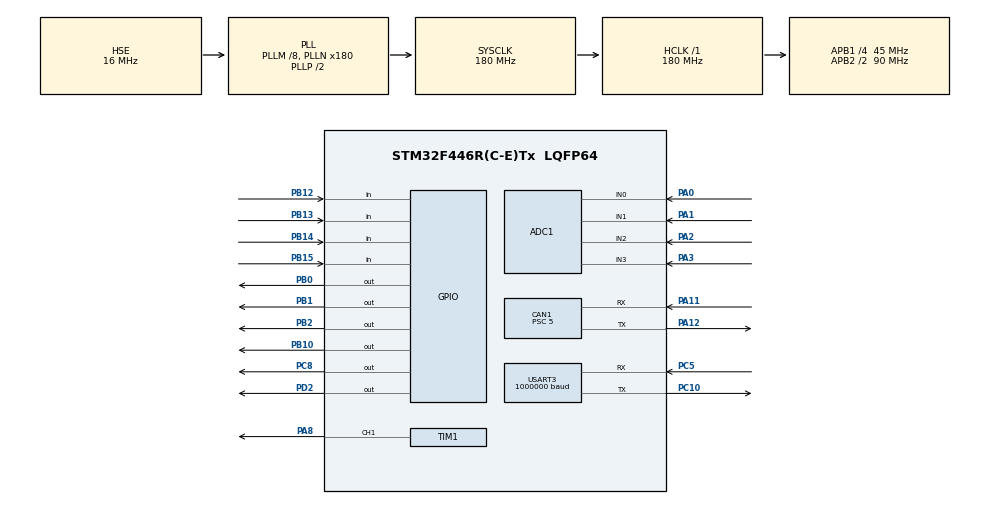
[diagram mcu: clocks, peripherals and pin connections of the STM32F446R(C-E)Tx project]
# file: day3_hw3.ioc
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ADC1.Channel-0\#ChannelRegularConversion=ADC_CHANNEL_0
ADC1.Channel-1\#ChannelRegularConversion=ADC_CHANNEL_1
ADC1.Channel-2\#ChannelRegularConversion=ADC_CHANNEL_2
ADC1.Channel-3\#ChannelRegularConversion=ADC_CHANNEL_3
ADC1.DMAContinuousRequests=ENABLE
ADC1.ExternalTrigConv=ADC_EXTERNALTRIGCONV_T8_TRGO
ADC1.NbrOfConversion=4
ADC1.NbrOfConversionFlag=1
ADC1.Rank-0\#ChannelRegularConversion=1
ADC1.Rank-1\#ChannelRegularConversion=2
ADC1.Rank-2\#ChannelRegularConversion=3
ADC1.Rank-3\#ChannelRegularConversion=4
ADC1.SamplingTime-0\#ChannelRegularConversion=ADC_SAMPLETIME_15CYCLES
ADC1.SamplingTime-1\#ChannelRegularConversion=ADC_SAMPLETIME_15CYCLES
ADC1.SamplingTime-2\#ChannelRegularConversion=ADC_SAMPLETIME_15CYCLES
ADC1.SamplingTime-3\#ChannelRegularConversion=ADC_SAMPLETIME_15CYCLES
ADC1.ScanConvMode=ENABLE
ADC1.master=1
CAN1.BS1=CAN_BS1_6TQ
CAN1.BS2=CAN_BS2_2TQ
CAN1.CalculateBaudRate=1000000
CAN1.CalculateTimeBit=1000
CAN1.CalculateTimeQuantum=111.11111111111111
CAN1.Prescaler=5
Dma.ADC1.0.Direction=DMA_PERIPH_TO_MEMORY
Dma.ADC1.0.FIFOMode=DMA_FIFOMODE_DISABLE
Dma.ADC1.0.Instance=DMA2_Stream0
Dma.ADC1.0.MemDataAlignment=DMA_MDATAALIGN_WORD
Dma.ADC1.0.MemInc=DMA_MINC_ENABLE
Dma.ADC1.0.Mode=DMA_CIRCULAR
Dma.ADC1.0.PeriphDataAlignment=DMA_PDATAALIGN_WORD
Dma.ADC1.0.PeriphInc=DMA_PINC_DISABLE
Dma.ADC1.0.Priority=DMA_PRIORITY_LOW
Dma.Request0=ADC1
Dma.Request1=USART3_RX
Dma.USART3_RX.1.Direction=DMA_PERIPH_TO_MEMORY
Dma.USART3_RX.1.FIFOMode=DMA_FIFOMODE_DISABLE
Dma.USART3_RX.1.Instance=DMA1_Stream1
Dma.USART3_RX.1.MemDataAlignment=DMA_MDATAALIGN_BYTE
Dma.USART3_RX.1.MemInc=DMA_MINC_ENABLE
Dma.USART3_RX.1.Mode=DMA_CIRCULAR
Dma.USART3_RX.1.PeriphDataAlignment=DMA_PDATAALIGN_BYTE
Dma.USART3_RX.1.PeriphInc=DMA_PINC_DISABLE
Dma.USART3_RX.1.Priority=DMA_PRIORITY_LOW
Mcu.Family=STM32F4
Mcu.Name=STM32F446R(C-E)Tx
Mcu.Package=LQFP64
NVIC.ADC_IRQn=true\:0\:0\:false\:false\:true\:true\:true\:true
NVIC.DMA1_Stream1_IRQn=true\:0\:0\:false\:false\:true\:false\:true\:true
NVIC.DMA2_Stream0_IRQn=true\:0\:0\:false\:false\:true\:false\:true\:true
NVIC.PriorityGroup=NVIC_PRIORITYGROUP_4
NVIC.TIM1_BRK_TIM9_IRQn=true\:0\:0\:false\:false\:true\:true\:true\:true
NVIC.TIM1_CC_IRQn=true\:0\:0\:false\:false\:true\:true\:true\:true
NVIC.TIM1_TRG_COM_TIM11_IRQn=true\:0\:0\:false\:false\:true\:true\:true\:true
NVIC.TIM1_UP_TIM10_IRQn=true\:0\:0\:false\:false\:true\:true\:true\:true
NVIC.TIM6_DAC_IRQn=true\:0\:0\:false\:false\:true\:true\:true\:true
NVIC.USART3_IRQn=true\:0\:0\:false\:false\:true\:true\:true\:true
PA0-WKUP.Signal=ADCx_IN0
PA1.Signal=ADCx_IN1
PA11.Mode=CAN_Activate
PA11.Signal=CAN1_RX
PA12.Mode=CAN_Activate
PA12.Signal=CAN1_TX
PA13.Mode=Serial_Wire
PA13.Signal=SYS_JTMS-SWDIO
PA14.Mode=Serial_Wire
PA14.Signal=SYS_JTCK-SWCLK
PA2.Signal=ADCx_IN2
PA3.Signal=ADCx_IN3
PA8.Signal=S_TIM1_CH1
PB0.Signal=GPIO_Output
PB1.Signal=GPIO_Output
PB10.Signal=GPIO_Output
PB12.GPIO_PuPd=GPIO_PULLDOWN
PB12.Signal=GPIO_Input
PB13.GPIO_PuPd=GPIO_PULLDOWN
PB13.Signal=GPIO_Input
PB14.GPIO_PuPd=GPIO_PULLDOWN
PB14.Signal=GPIO_Input
PB15.GPIO_PuPd=GPIO_PULLDOWN
PB15.Signal=GPIO_Input
PB2.Signal=GPIO_Output
PC10.Mode=Asynchronous
PC10.Signal=USART3_TX
PC5.Mode=Asynchronous
PC5.Signal=USART3_RX
PC8.Signal=GPIO_Output
PD2.Signal=GPIO_Output
PH0-OSC_IN.Mode=HSE-External-Oscillator
PH0-OSC_IN.Signal=RCC_OSC_IN
PH1-OSC_OUT.Mode=HSE-External-Oscillator
PH1-OSC_OUT.Signal=RCC_OSC_OUT
ProjectManager.HeapSize=0x200
ProjectManager.StackSize=0x400
ProjectManager.TargetToolchain=STM32CubeIDE
RCC.AHBFreq_Value=180000000
RCC.APB1CLKDivider=RCC_HCLK_DIV4
RCC.APB1Freq_Value=45000000
RCC.APB1TimFreq_Value=90000000
RCC.APB2CLKDivider=RCC_HCLK_DIV2
RCC.APB2Freq_Value=90000000
RCC.APB2TimFreq_Value=180000000
RCC.CortexFreq_Value=180000000
RCC.HCLKFreq_Value=180000000
RCC.HSE_VALUE=16000000
RCC.PLLM=8
RCC.PLLN=180
RCC.PLLSourceVirtual=RCC_PLLSOURCE_HSE
RCC.SYSCLKFreq_VALUE=180000000
RCC.SYSCLKSource=RCC_SYSCLKSOURCE_PLLCLK
RCC.USBFreq_Value=180000000
RCC.VCOOutputFreq_Value=360000000
SH.ADCx_IN0.0=ADC1_IN0,IN0
SH.ADCx_IN1.0=ADC1_IN1,IN1
SH.ADCx_IN2.0=ADC1_IN2,IN2
SH.ADCx_IN3.0=ADC1_IN3,IN3
SH.S_TIM1_CH1.0=TIM1_CH1,PWM Generation1 CH1
TIM1.Channel-PWM\ Generation1\ CH1=TIM_CHANNEL_1
TIM1.Period=500-1
TIM1.Prescaler=18-1
TIM6.Period=100-1
TIM6.Prescaler=90-1
USART3.BaudRate=1000000
USART3.VirtualMode=VM_ASYNC
VP_TIM6_VS_ClockSourceINT.Mode=Enable_Timer
board=custom

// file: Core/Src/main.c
/* USER CODE BEGIN Header */
/**
  ******************************************************************************
  * @file           : main.c
  * @brief          : Main program body
  ******************************************************************************
  * @attention
  *
  * Copyright (c) 2026 STMicroelectronics.
  * All rights reserved.
  *
  * This software is licensed under terms that can be found in the LICENSE file
  * in the root directory of this software component.
  * If no LICENSE file comes with this software, it is provided AS-IS.
  *
  ******************************************************************************
  */
/* USER CODE END Header */
#include "main.h"

/* USER CODE BEGIN Includes */
#include <string.h>
/* USER CODE END Includes */

/* USER CODE BEGIN PD */
#define MOTOR_ID        0x7F    // RS00 기본 CAN ID (127)
#define HOST_ID         0xFD    // 호스트 ID

#define COMM_ENABLE     3       // 통신 타입 3: 모터 enable
#define COMM_STOP       4       // 통신 타입 4: 모터 stop
#define COMM_WRITE      0x12    // 통신 타입 18: 단일 파라미터 쓰기

#define IDX_RUN_MODE    0x7005  // uint8, 2 = 속도 모드
#define IDX_SPD_REF     0x700A  // float, 속도 지령 (-33 ~ 33 rad/s)
#define IDX_LIMIT_CUR   0x7018  // float, 전류 제한 (0 ~ 16 A)
#define IDX_ACC_RAD     0x7022  // float, 속도 모드 가속도 (기본 20 rad/s^2)

// 24V 입력, 데이터시트 값의 절반 미만으로 사용
#define SPEED_RAD_S     5.0f    // 최대 33 rad/s의 절반(16.5) 미만
#define LIMIT_CUR_A     4.0f    // 최대 16 A의 절반(8) 미만
#define ACC_RAD_S2      20.0f   // 데이터시트 기본값. +5 <-> -5 반전에 0.5초
#define PHASE_MS        5000    // 한 방향으로 도는 시간
/* USER CODE END PD */

ADC_HandleTypeDef hadc1;
DMA_HandleTypeDef hdma_adc1;

CAN_HandleTypeDef hcan1;

TIM_HandleTypeDef htim1;
TIM_HandleTypeDef htim6;

/* USER CODE BEGIN PV */
static uint8_t motor_id = MOTOR_ID;   // rs_scan()이 찾은 모터 ID (못 찾으면 기본값)
/* USER CODE END PV */

void SystemClock_Config(void);
static void MX_GPIO_Init(void);
static void MX_DMA_Init(void);
static void MX_ADC1_Init(void);
static void MX_TIM1_Init(void);
static void MX_TIM6_Init(void);
static void MX_USART3_UART_Init(void);
static void MX_CAN1_Init(void);
/* USER CODE BEGIN PFP */
static void rs_send(uint8_t comm_type, const uint8_t data[8]);
static void rs_scan(void);
static void rs_write_u8(uint16_t index, uint8_t value);
static void rs_write_float(uint16_t index, float value);
/* USER CODE END PFP */

/* USER CODE BEGIN 0 */
static void rs_send(uint8_t comm_type, const uint8_t data[8])
{
  CAN_TxHeaderTypeDef header;
  uint32_t mailbox;

  header.ExtId = ((uint32_t)comm_type << 24) | ((uint32_t)HOST_ID << 8) | motor_id;
  header.IDE = CAN_ID_EXT;
  header.RTR = CAN_RTR_DATA;
  header.DLC = 8;
  header.TransmitGlobalTime = DISABLE;

  uint32_t start = HAL_GetTick();
  while (HAL_CAN_GetTxMailboxesFreeLevel(&hcan1) == 0)
  {
    if (HAL_GetTick() - start > 10) return;   // 메일박스가 안 비면 포기
  }
  HAL_CAN_AddTxMessage(&hcan1, &header, (uint8_t *)data, &mailbox);
}

// 통신 타입 0(장치 ID 요청)을 ID 1~127에 차례로 보내고 응답한 모터의 ID를 찾는다
static void rs_scan(void)
{
  uint8_t zero[8] = {0};
  CAN_RxHeaderTypeDef rx_header;
  uint8_t rx_data[8];

  for (uint16_t n = 0; n < 127; n++)
  {
    motor_id = (n == 0) ? 0x7F : n;   // 0x7F 먼저, 그다음 1~126
    rs_send(0, zero);
    HAL_Delay(3);
    while (HAL_CAN_GetRxFifoFillLevel(&hcan1, CAN_RX_FIFO0) > 0)
    {
      HAL_CAN_GetRxMessage(&hcan1, CAN_RX_FIFO0, &rx_header, rx_data);
      if (((rx_header.ExtId >> 24) & 0x1F) == 0)   // 타입 0 응답
      {
        motor_id = (rx_header.ExtId >> 8) & 0xFF;  // bit15~8 = 모터 CAN ID
        return;
      }
    }
  }
  motor_id = MOTOR_ID;   // 못 찾음
}

static void rs_write_u8(uint16_t index, uint8_t value)
{
  uint8_t data[8] = {0};
  memcpy(&data[0], &index, 2);   // Byte0~1: index (little endian)
  data[4] = value;               // Byte4~7: 값
  rs_send(COMM_WRITE, data);
}

static void rs_write_float(uint16_t index, float value)
{
  uint8_t data[8] = {0};
  memcpy(&data[0], &index, 2);
  memcpy(&data[4], &value, 4);   // float, little endian
  rs_send(COMM_WRITE, data);
}
/* USER CODE END 0 */

int main(void)
{

  /* MCU Configuration--------------------------------------------------------*/

  /* Reset of all peripherals, Initializes the Flash interface and the Systick. */
  HAL_Init();

  /* Configure the system clock */
  SystemClock_Config();

  /* Initialize all configured peripherals */
  MX_GPIO_Init();
  MX_DMA_Init();
  MX_ADC1_Init();
  MX_TIM1_Init();
  MX_TIM6_Init();
  MX_USART3_UART_Init();
  MX_CAN1_Init();
  /* USER CODE BEGIN 2 */
  CAN_FilterTypeDef filter = {0};                 // 모든 프레임 수신 (ID 스캔용)
  filter.FilterBank = 0;
  filter.FilterMode = CAN_FILTERMODE_IDMASK;
  filter.FilterScale = CAN_FILTERSCALE_32BIT;
  filter.FilterFIFOAssignment = CAN_RX_FIFO0;
  filter.FilterActivation = ENABLE;
  filter.SlaveStartFilterBank = 14;
  HAL_CAN_ConfigFilter(&hcan1, &filter);
  HAL_CAN_Start(&hcan1);
  HAL_Delay(100);
  rs_scan();

  // 매뉴얼 4.3.3 속도 모드 순서: run_mode -> enable -> limit_cur -> acc_rad -> spd_ref
  uint8_t zero[8] = {0};
  rs_send(COMM_STOP, zero);
  HAL_Delay(50);
  rs_write_u8(IDX_RUN_MODE, 2);
  HAL_Delay(10);
  rs_send(COMM_ENABLE, zero);
  HAL_Delay(10);
  rs_write_float(IDX_LIMIT_CUR, LIMIT_CUR_A);
  HAL_Delay(10);
  rs_write_float(IDX_ACC_RAD, ACC_RAD_S2);
  HAL_Delay(10);
  rs_write_float(IDX_SPD_REF, 0.0f);   // 초기 상태: 정지
  uint32_t t_start = HAL_GetTick();
  /* USER CODE END 2 */

  /* Infinite loop */
  while (1)
  {

    /* USER CODE BEGIN 3 */
    // 1초 CW -> 1초 CCW 반복
    uint32_t phase = ((HAL_GetTick() - t_start) / PHASE_MS) % 2;
    rs_write_float(IDX_SPD_REF, (phase == 0) ? SPEED_RAD_S : -SPEED_RAD_S);
    HAL_Delay(20);
  }
  /* USER CODE END 3 */
}

void SystemClock_Config(void)
{
  RCC_OscInitTypeDef RCC_OscInitStruct = {0};
  RCC_ClkInitTypeDef RCC_ClkInitStruct = {0};

  /** Configure the main internal regulator output voltage
  */
  __HAL_RCC_PWR_CLK_ENABLE();
  __HAL_PWR_VOLTAGESCALING_CONFIG(PWR_REGULATOR_VOLTAGE_SCALE1);

  /** Initializes the RCC Oscillators according to the specified parameters
  * in the RCC_OscInitTypeDef structure.
  */
  RCC_OscInitStruct.OscillatorType = RCC_OSCILLATORTYPE_HSE;
  RCC_OscInitStruct.HSEState = RCC_HSE_ON;
  RCC_OscInitStruct.PLL.PLLState = RCC_PLL_ON;
  RCC_OscInitStruct.PLL.PLLSource = RCC_PLLSOURCE_HSE;
  RCC_OscInitStruct.PLL.PLLM = 8;
  RCC_OscInitStruct.PLL.PLLN = 180;
  RCC_OscInitStruct.PLL.PLLP = RCC_PLLP_DIV2;
  RCC_OscInitStruct.PLL.PLLQ = 2;
  RCC_OscInitStruct.PLL.PLLR = 2;
  if (HAL_RCC_OscConfig(&RCC_OscInitStruct) != HAL_OK)
  {
    Error_Handler();
  }

  /** Activate the Over-Drive mode
  */
  if (HAL_PWREx_EnableOverDrive() != HAL_OK)
  {
    Error_Handler();
  }

  /** Initializes the CPU, AHB and APB buses clocks
  */
  RCC_ClkInitStruct.ClockType = RCC_CLOCKTYPE_HCLK|RCC_CLOCKTYPE_SYSCLK
                              |RCC_CLOCKTYPE_PCLK1|RCC_CLOCKTYPE_PCLK2;
  RCC_ClkInitStruct.SYSCLKSource = RCC_SYSCLKSOURCE_PLLCLK;
  RCC_ClkInitStruct.AHBCLKDivider = RCC_SYSCLK_DIV1;
  RCC_ClkInitStruct.APB1CLKDivider = RCC_HCLK_DIV4;
  RCC_ClkInitStruct.APB2CLKDivider = RCC_HCLK_DIV2;

  if (HAL_RCC_ClockConfig(&RCC_ClkInitStruct, FLASH_LATENCY_5) != HAL_OK)
  {
    Error_Handler();
  }
}

static void MX_ADC1_Init(void)
{

  ADC_ChannelConfTypeDef sConfig = {0};

  /** Configure the global features of the ADC (Clock, Resolution, Data Alignment and number of conversion)
  */
  hadc1.Instance = ADC1;
  hadc1.Init.ClockPrescaler = ADC_CLOCK_SYNC_PCLK_DIV4;
  hadc1.Init.Resolution = ADC_RESOLUTION_12B;
  hadc1.Init.ScanConvMode = ENABLE;
  hadc1.Init.ContinuousConvMode = DISABLE;
  hadc1.Init.DiscontinuousConvMode = DISABLE;
  hadc1.Init.ExternalTrigConvEdge = ADC_EXTERNALTRIGCONVEDGE_RISING;
  hadc1.Init.ExternalTrigConv = ADC_EXTERNALTRIGCONV_T8_TRGO;
  hadc1.Init.DataAlign = ADC_DATAALIGN_RIGHT;
  hadc1.Init.NbrOfConversion = 4;
  hadc1.Init.DMAContinuousRequests = ENABLE;
  hadc1.Init.EOCSelection = ADC_EOC_SINGLE_CONV;
  if (HAL_ADC_Init(&hadc1) != HAL_OK)
  {
    Error_Handler();
  }

  /** Configure for the selected ADC regular channel its corresponding rank in the sequencer and its sample time.
  */
  sConfig.Channel = ADC_CHANNEL_0;
  sConfig.Rank = 1;
  sConfig.SamplingTime = ADC_SAMPLETIME_15CYCLES;
  if (HAL_ADC_ConfigChannel(&hadc1, &sConfig) != HAL_OK)
  {
    Error_Handler();
  }

  /** Configure for the selected ADC regular channel its corresponding rank in the sequencer and its sample time.
  */
  sConfig.Channel = ADC_CHANNEL_1;
  sConfig.Rank = 2;
  if (HAL_ADC_ConfigChannel(&hadc1, &sConfig) != HAL_OK)
  {
    Error_Handler();
  }

  /** Configure for the selected ADC regular channel its corresponding rank in the sequencer and its sample time.
  */
  sConfig.Channel = ADC_CHANNEL_2;
  sConfig.Rank = 3;
  if (HAL_ADC_ConfigChannel(&hadc1, &sConfig) != HAL_OK)
  {
    Error_Handler();
  }

  /** Configure for the selected ADC regular channel its corresponding rank in the sequencer and its sample time.
  */
  sConfig.Channel = ADC_CHANNEL_3;
  sConfig.Rank = 4;
  if (HAL_ADC_ConfigChannel(&hadc1, &sConfig) != HAL_OK)
  {
    Error_Handler();
  }

}

static void MX_CAN1_Init(void)
{

  hcan1.Instance = CAN1;
  hcan1.Init.Prescaler = 5;
  hcan1.Init.Mode = CAN_MODE_NORMAL;
  hcan1.Init.SyncJumpWidth = CAN_SJW_1TQ;
  hcan1.Init.TimeSeg1 = CAN_BS1_6TQ;
  hcan1.Init.TimeSeg2 = CAN_BS2_2TQ;
  hcan1.Init.TimeTriggeredMode = DISABLE;
  hcan1.Init.AutoBusOff = DISABLE;
  hcan1.Init.AutoWakeUp = DISABLE;
  hcan1.Init.AutoRetransmission = DISABLE;
  hcan1.Init.ReceiveFifoLocked = DISABLE;
  hcan1.Init.TransmitFifoPriority = DISABLE;
  if (HAL_CAN_Init(&hcan1) != HAL_OK)
  {
    Error_Handler();
  }

}

static void MX_TIM1_Init(void)
{

  TIM_MasterConfigTypeDef sMasterConfig = {0};
  TIM_OC_InitTypeDef sConfigOC = {0};
  TIM_BreakDeadTimeConfigTypeDef sBreakDeadTimeConfig = {0};

  htim1.Instance = TIM1;
  htim1.Init.Prescaler = 18-1;
  htim1.Init.CounterMode = TIM_COUNTERMODE_UP;
  htim1.Init.Period = 500-1;
  htim1.Init.ClockDivision = TIM_CLOCKDIVISION_DIV1;
  htim1.Init.RepetitionCounter = 0;
  htim1.Init.AutoReloadPreload = TIM_AUTORELOAD_PRELOAD_DISABLE;
  if (HAL_TIM_PWM_Init(&htim1) != HAL_OK)
  {
    Error_Handler();
  }
  sMasterConfig.MasterOutputTrigger = TIM_TRGO_RESET;
  sMasterConfig.MasterSlaveMode = TIM_MASTERSLAVEMODE_DISABLE;
  if (HAL_TIMEx_MasterConfigSynchronization(&htim1, &sMasterConfig) != HAL_OK)
  {
    Error_Handler();
  }
  sConfigOC.OCMode = TIM_OCMODE_PWM1;
  sConfigOC.Pulse = 0;
  sConfigOC.OCPolarity = TIM_OCPOLARITY_HIGH;
  sConfigOC.OCNPolarity = TIM_OCNPOLARITY_HIGH;
  sConfigOC.OCFastMode = TIM_OCFAST_DISABLE;
  sConfigOC.OCIdleState = TIM_OCIDLESTATE_RESET;
  sConfigOC.OCNIdleState = TIM_OCNIDLESTATE_RESET;
  if (HAL_TIM_PWM_ConfigChannel(&htim1, &sConfigOC, TIM_CHANNEL_1) != HAL_OK)
  {
    Error_Handler();
  }
  sBreakDeadTimeConfig.OffStateRunMode = TIM_OSSR_DISABLE;
  sBreakDeadTimeConfig.OffStateIDLEMode = TIM_OSSI_DISABLE;
  sBreakDeadTimeConfig.LockLevel = TIM_LOCKLEVEL_OFF;
  sBreakDeadTimeConfig.DeadTime = 0;
  sBreakDeadTimeConfig.BreakState = TIM_BREAK_DISABLE;
  sBreakDeadTimeConfig.BreakPolarity = TIM_BREAKPOLARITY_HIGH;
  sBreakDeadTimeConfig.AutomaticOutput = TIM_AUTOMATICOUTPUT_DISABLE;
  if (HAL_TIMEx_ConfigBreakDeadTime(&htim1, &sBreakDeadTimeConfig) != HAL_OK)
  {
    Error_Handler();
  }
  HAL_TIM_MspPostInit(&htim1);

}

static void MX_TIM6_Init(void)
{

  TIM_MasterConfigTypeDef sMasterConfig = {0};

  htim6.Instance = TIM6;
  htim6.Init.Prescaler = 90-1;
  htim6.Init.CounterMode = TIM_COUNTERMODE_UP;
  htim6.Init.Period = 100-1;
  htim6.Init.AutoReloadPreload = TIM_AUTORELOAD_PRELOAD_DISABLE;
  if (HAL_TIM_Base_Init(&htim6) != HAL_OK)
  {
    Error_Handler();
  }
  sMasterConfig.MasterOutputTrigger = TIM_TRGO_RESET;
  sMasterConfig.MasterSlaveMode = TIM_MASTERSLAVEMODE_DISABLE;
  if (HAL_TIMEx_MasterConfigSynchronization(&htim6, &sMasterConfig) != HAL_OK)
  {
    Error_Handler();
  }

}

static void MX_USART3_UART_Init(void)
{

  LL_USART_InitTypeDef USART_InitStruct = {0};

  LL_GPIO_InitTypeDef GPIO_InitStruct = {0};

  /* Peripheral clock enable */
  LL_APB1_GRP1_EnableClock(LL_APB1_GRP1_PERIPH_USART3);

  LL_AHB1_GRP1_EnableClock(LL_AHB1_GRP1_PERIPH_GPIOC);
  /**USART3 GPIO Configuration
  PC5   ------> USART3_RX
  PC10   ------> USART3_TX
  */
  GPIO_InitStruct.Pin = LL_GPIO_PIN_5|LL_GPIO_PIN_10;
  GPIO_InitStruct.Mode = LL_GPIO_MODE_ALTERNATE;
  GPIO_InitStruct.Speed = LL_GPIO_SPEED_FREQ_VERY_HIGH;
  GPIO_InitStruct.OutputType = LL_GPIO_OUTPUT_PUSHPULL;
  GPIO_InitStruct.Pull = LL_GPIO_PULL_NO;
  GPIO_InitStruct.Alternate = LL_GPIO_AF_7;
  LL_GPIO_Init(GPIOC, &GPIO_InitStruct);

  /* USART3 DMA Init */

  /* USART3_RX Init */
  LL_DMA_SetChannelSelection(DMA1, LL_DMA_STREAM_1, LL_DMA_CHANNEL_4);

  LL_DMA_SetDataTransferDirection(DMA1, LL_DMA_STREAM_1, LL_DMA_DIRECTION_PERIPH_TO_MEMORY);

  LL_DMA_SetStreamPriorityLevel(DMA1, LL_DMA_STREAM_1, LL_DMA_PRIORITY_LOW);

  LL_DMA_SetMode(DMA1, LL_DMA_STREAM_1, LL_DMA_MODE_CIRCULAR);

  LL_DMA_SetPeriphIncMode(DMA1, LL_DMA_STREAM_1, LL_DMA_PERIPH_NOINCREMENT);

  LL_DMA_SetMemoryIncMode(DMA1, LL_DMA_STREAM_1, LL_DMA_MEMORY_INCREMENT);

  LL_DMA_SetPeriphSize(DMA1, LL_DMA_STREAM_1, LL_DMA_PDATAALIGN_BYTE);

  LL_DMA_SetMemorySize(DMA1, LL_DMA_STREAM_1, LL_DMA_MDATAALIGN_BYTE);

  LL_DMA_DisableFifoMode(DMA1, LL_DMA_STREAM_1);

  /* USART3 interrupt Init */
  NVIC_SetPriority(USART3_IRQn, NVIC_EncodePriority(NVIC_GetPriorityGrouping(),0, 0));
  NVIC_EnableIRQ(USART3_IRQn);

  USART_InitStruct.BaudRate = 1000000;
  USART_InitStruct.DataWidth = LL_USART_DATAWIDTH_8B;
  USART_InitStruct.StopBits = LL_USART_STOPBITS_1;
  USART_InitStruct.Parity = LL_USART_PARITY_NONE;
  USART_InitStruct.TransferDirection = LL_USART_DIRECTION_TX_RX;
  USART_InitStruct.HardwareFlowControl = LL_USART_HWCONTROL_NONE;
  USART_InitStruct.OverSampling = LL_USART_OVERSAMPLING_16;
  LL_USART_Init(USART3, &USART_InitStruct);
  LL_USART_ConfigAsyncMode(USART3);
  LL_USART_Enable(USART3);

}

static void MX_DMA_Init(void)
{

  /* DMA controller clock enable */
  __HAL_RCC_DMA2_CLK_ENABLE();
  __HAL_RCC_DMA1_CLK_ENABLE();

  /* DMA interrupt init */
  /* DMA1_Stream1_IRQn interrupt configuration */
  NVIC_SetPriority(DMA1_Stream1_IRQn, NVIC_EncodePriority(NVIC_GetPriorityGrouping(),0, 0));
  NVIC_EnableIRQ(DMA1_Stream1_IRQn);
  /* DMA2_Stream0_IRQn interrupt configuration */
  HAL_NVIC_SetPriority(DMA2_Stream0_IRQn, 0, 0);
  HAL_NVIC_EnableIRQ(DMA2_Stream0_IRQn);

}

static void MX_GPIO_Init(void)
{
  GPIO_InitTypeDef GPIO_InitStruct = {0};

  /* GPIO Ports Clock Enable */
  __HAL_RCC_GPIOH_CLK_ENABLE();
  __HAL_RCC_GPIOA_CLK_ENABLE();
  __HAL_RCC_GPIOC_CLK_ENABLE();
  __HAL_RCC_GPIOB_CLK_ENABLE();
  __HAL_RCC_GPIOD_CLK_ENABLE();

  /*Configure GPIO pin Output Level */
  HAL_GPIO_WritePin(GPIOB, GPIO_PIN_0|GPIO_PIN_1|GPIO_PIN_2|GPIO_PIN_10, GPIO_PIN_RESET);

  /*Configure GPIO pin Output Level */
  HAL_GPIO_WritePin(GPIOC, GPIO_PIN_8, GPIO_PIN_RESET);

  /*Configure GPIO pin Output Level */
  HAL_GPIO_WritePin(GPIOD, GPIO_PIN_2, GPIO_PIN_RESET);

  /*Configure GPIO pins : PB0 PB1 PB2 PB10 */
  GPIO_InitStruct.Pin = GPIO_PIN_0|GPIO_PIN_1|GPIO_PIN_2|GPIO_PIN_10;
  GPIO_InitStruct.Mode = GPIO_MODE_OUTPUT_PP;
  GPIO_InitStruct.Pull = GPIO_NOPULL;
  GPIO_InitStruct.Speed = GPIO_SPEED_FREQ_LOW;
  HAL_GPIO_Init(GPIOB, &GPIO_InitStruct);

  /*Configure GPIO pins : PB12 PB13 PB14 PB15 */
  GPIO_InitStruct.Pin = GPIO_PIN_12|GPIO_PIN_13|GPIO_PIN_14|GPIO_PIN_15;
  GPIO_InitStruct.Mode = GPIO_MODE_INPUT;
  GPIO_InitStruct.Pull = GPIO_PULLDOWN;
  HAL_GPIO_Init(GPIOB, &GPIO_InitStruct);

  /*Configure GPIO pin : PC8 */
  GPIO_InitStruct.Pin = GPIO_PIN_8;
  GPIO_InitStruct.Mode = GPIO_MODE_OUTPUT_PP;
  GPIO_InitStruct.Pull = GPIO_NOPULL;
  GPIO_InitStruct.Speed = GPIO_SPEED_FREQ_LOW;
  HAL_GPIO_Init(GPIOC, &GPIO_InitStruct);

  /*Configure GPIO pin : PD2 */
  GPIO_InitStruct.Pin = GPIO_PIN_2;
  GPIO_InitStruct.Mode = GPIO_MODE_OUTPUT_PP;
  GPIO_InitStruct.Pull = GPIO_NOPULL;
  GPIO_InitStruct.Speed = GPIO_SPEED_FREQ_LOW;
  HAL_GPIO_Init(GPIOD, &GPIO_InitStruct);

}

void Error_Handler(void)
{
  __disable_irq();
  while (1)
  {
  }
}
